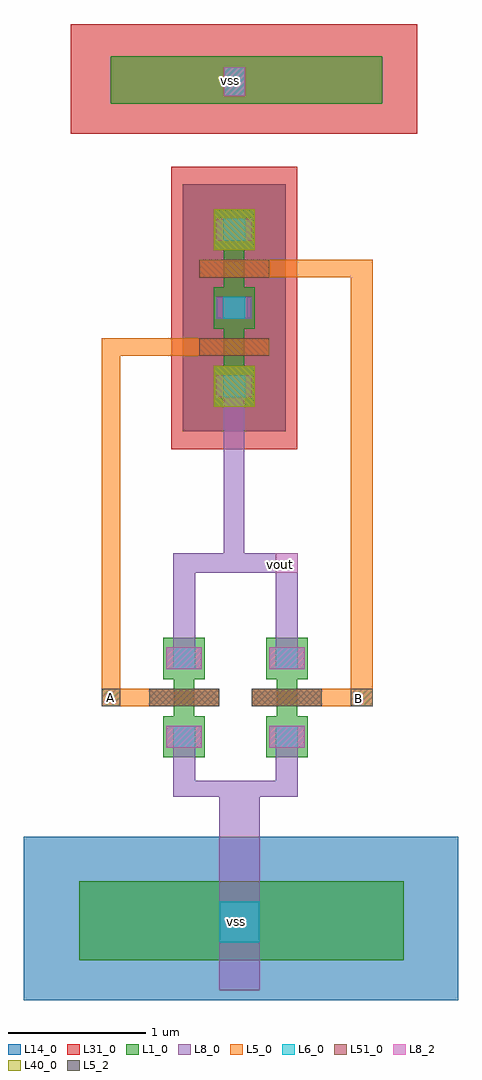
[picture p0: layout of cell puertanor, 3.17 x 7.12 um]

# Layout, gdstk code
from math import pi, radians
import gdstk
lib = gdstk.Library(unit=1e-6, precision=5e-09)
def R(c, l, rs):  # rectangles x0, y0, x1, y1
    for r in rs: c.add(gdstk.rectangle(r[:2], r[2:], *l))
L1_0 = (1, 0)
L5_0 = (5, 0)
L5_2 = (5, 2)
L6_0 = (6, 0)
L8_0 = (8, 0)
L8_2 = (8, 2)
L14_0 = (14, 0)
L31_0 = (31, 0)
L40_0 = (40, 0)
L51_0 = (51, 0)

nmos = lib.new_cell('nmos')
R(nmos, L1_0, [(0,0,0.3,0.3), (0.57,0,0.87,0.3), (0,0.075,0.87,0.225)])
R(nmos, L5_0, [(0.37,-0.105,0.5,0.405)])
R(nmos, L5_2, [(0.37,-0.105,0.5,0.405)])
R(nmos, L6_0, [(0.07,0.07,0.23,0.23), (0.64,0.07,0.8,0.23)])
R(nmos, L8_0, [(0.07,0.02,0.23,0.28), (0.64,0.02,0.8,0.28)])
R(nmos, L8_2, [(0.07,0.02,0.23,0.28), (0.64,0.02,0.8,0.28)])
R(nmos, L51_0, [(0.37,-0.105,0.5,0.405)])
nmos.add(gdstk.Label('nmos', (0.435,0.15), layer=63, texttype=0))
nmos.add(gdstk.Label('nmos', (0.435,0.15), layer=51, texttype=0))

pmos = lib.new_cell('pmos')
R(pmos, L1_0, [(0,0,0.3,0.3), (0.57,0,0.87,0.3), (0,0.075,0.87,0.225)])
R(pmos, L5_0, [(0.37,-0.105,0.5,0.405), (0.37,-0.105,0.5,0.405)])
R(pmos, L6_0, [(0.07,0.07,0.23,0.23), (0.64,0.07,0.8,0.23)])
R(pmos, L8_0, [(0.07,0.02,0.23,0.28), (0.07,0.02,0.23,0.28), (0.64,0.02,0.8,0.28), (0.64,0.02,0.8,0.28)])
R(pmos, L14_0, [(-0.18,-0.225,1.05,0.525)])
R(pmos, L31_0, [(-0.31,-0.31,1.18,0.61)])
R(pmos, L40_0, [(0.57,0,0.87,0.3)])
R(pmos, L51_0, [(0.37,-0.105,0.5,0.405)])
pmos.add(gdstk.Label('pmos', (0.435,0.15), layer=63, texttype=0))
pmos.add(gdstk.Label('pmos', (0.435,0.15), layer=51, texttype=0))

puertanor = lib.new_cell('puertanor')
R(puertanor, L1_0, [(2.07,-0.245,4.435,0.33), (2.3,6,4.28,6.345)])
R(puertanor, L5_0, [(2.235,1.605,2.73,1.735), (2.235,1.605,2.37,4.28), (3.685,1.605,4.21,1.735), (4.05,1.605,4.21,4.86), (2.235,4.16,3.09,4.29), (3.2,4.735,4.21,4.86)])
R(puertanor, L5_2, [(2.235,1.605,2.37,1.735), (4.05,1.605,4.21,1.735)])
R(puertanor, L6_0, [(3.09,-0.115,3.385,0.185), (2.755,1.305,2.915,1.465), (3.505,1.305,3.665,1.465), (2.755,1.875,2.915,2.035), (3.505,1.875,3.665,2.035), (3.125,3.86,3.275,4.02), (3.125,6.055,3.28,6.265)])
R(puertanor, L8_0, [(3.09,-0.465,3.385,1.065), (2.755,0.945,2.915,1.465), (2.755,0.945,3.665,1.065), (3.505,0.945,3.665,1.465), (2.755,1.875,2.915,2.72), (3.505,1.875,3.665,2.72), (2.755,2.58,3.665,2.72), (3.125,2.58,3.275,4.02)])
R(puertanor, L8_2, [(3.505,2.58,3.665,2.72), (3.125,6.055,3.28,6.265)])
R(puertanor, L14_0, [(1.665,-0.535,4.835,0.655)])
R(puertanor, L31_0, [(2.01,5.78,4.535,6.58)])
puertanor.add(gdstk.Reference(nmos, (2.985,1.235), rotation=pi/2))
puertanor.add(gdstk.Reference(nmos, (3.735,1.235), rotation=pi/2))
puertanor.add(gdstk.Reference(pmos, (3.35,4.36), rotation=pi/2))
puertanor.add(gdstk.Reference(pmos, (3.05,4.66), rotation=3*pi/2))
puertanor.add(gdstk.Label('vss', (3.215,0.035), layer=6, texttype=0))
puertanor.add(gdstk.Label('vout', (3.535,2.64), layer=8, texttype=2))
puertanor.add(gdstk.Label('vss', (3.175,6.165), layer=8, texttype=2))
puertanor.add(gdstk.Label('B', (4.105,1.66), layer=5, texttype=2))
puertanor.add(gdstk.Label('A', (2.3,1.67), layer=5, texttype=2))

lib.write_gds('puertanor.gds')
